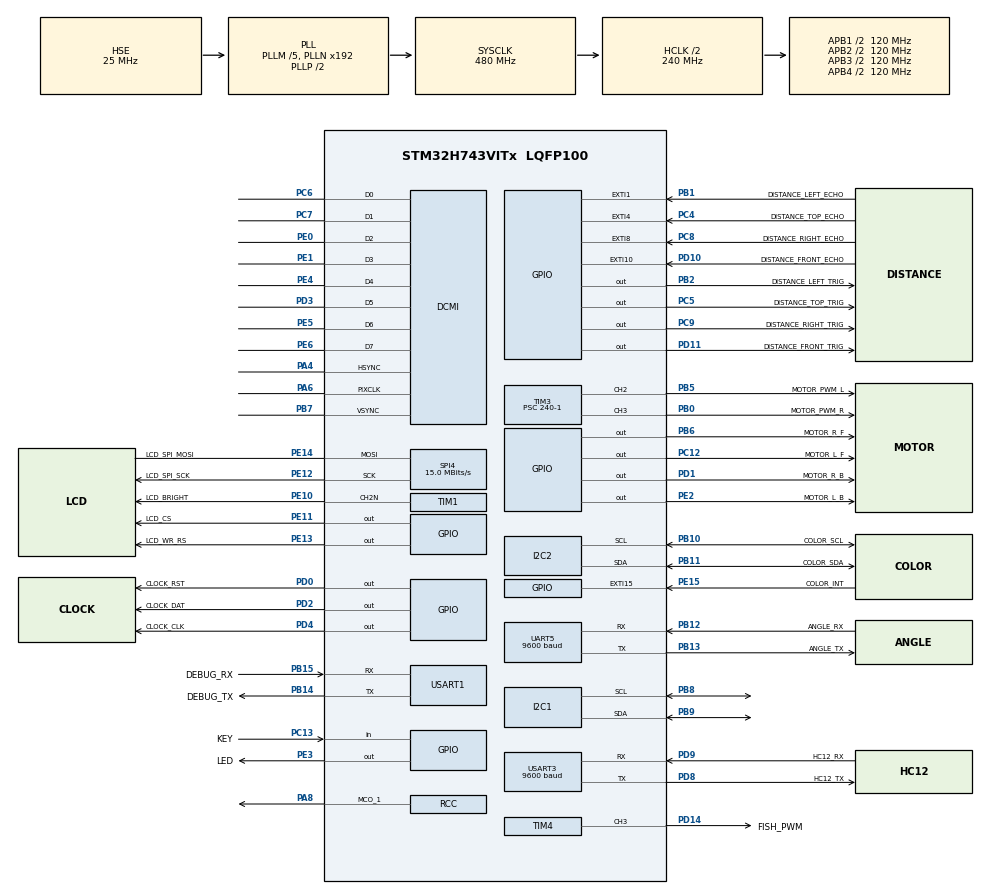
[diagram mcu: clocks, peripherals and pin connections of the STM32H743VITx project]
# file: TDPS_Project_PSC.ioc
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CORTEX_M7.CPU_DCache=Enabled
CORTEX_M7.CPU_ICache=Enabled
DCMI.JPEGMode=DCMI_JPEG_DISABLE
DCMI.PCKPolarity=DCMI_PCKPOLARITY_RISING
Dma.DCMI.0.Direction=DMA_PERIPH_TO_MEMORY
Dma.DCMI.0.EventEnable=DISABLE
Dma.DCMI.0.FIFOMode=DMA_FIFOMODE_DISABLE
Dma.DCMI.0.Instance=DMA1_Stream0
Dma.DCMI.0.MemDataAlignment=DMA_MDATAALIGN_WORD
Dma.DCMI.0.MemInc=DMA_MINC_ENABLE
Dma.DCMI.0.Mode=DMA_CIRCULAR
Dma.DCMI.0.PeriphDataAlignment=DMA_PDATAALIGN_WORD
Dma.DCMI.0.PeriphInc=DMA_PINC_DISABLE
Dma.DCMI.0.Polarity=HAL_DMAMUX_REQ_GEN_RISING
Dma.DCMI.0.Priority=DMA_PRIORITY_LOW
Dma.DCMI.0.RequestNumber=1
Dma.DCMI.0.SignalID=NONE
Dma.DCMI.0.SyncEnable=DISABLE
Dma.DCMI.0.SyncPolarity=HAL_DMAMUX_SYNC_NO_EVENT
Dma.DCMI.0.SyncRequestNumber=1
Dma.DCMI.0.SyncSignalID=NONE
Dma.Request0=DCMI
I2C1.Timing=0x307075B1
I2C2.Timing=0x307075B1
Mcu.Family=STM32H7
Mcu.Name=STM32H743VITx
Mcu.Package=LQFP100
NVIC.DCMI_IRQn=true\:0\:0\:false\:false\:true\:true\:true
NVIC.DMA1_Stream0_IRQn=true\:0\:0\:false\:false\:true\:false\:true
NVIC.EXTI15_10_IRQn=true\:0\:0\:false\:false\:true\:true\:true
NVIC.EXTI1_IRQn=true\:0\:0\:false\:false\:true\:true\:true
NVIC.EXTI4_IRQn=true\:0\:0\:false\:false\:true\:true\:true
NVIC.EXTI9_5_IRQn=true\:0\:0\:false\:false\:true\:true\:true
NVIC.LPTIM1_IRQn=true\:0\:0\:false\:false\:true\:true\:true
NVIC.LPTIM2_IRQn=true\:0\:0\:false\:false\:true\:true\:true
NVIC.LPTIM3_IRQn=true\:0\:0\:false\:false\:true\:true\:true
NVIC.LPTIM4_IRQn=true\:0\:0\:false\:false\:true\:true\:true
NVIC.LPTIM5_IRQn=true\:0\:0\:false\:false\:true\:true\:true
NVIC.PriorityGroup=NVIC_PRIORITYGROUP_4
NVIC.TIM8_UP_TIM13_IRQn=true\:0\:0\:false\:false\:true\:true\:true
NVIC.UART5_IRQn=true\:0\:0\:false\:false\:true\:true\:true
PA4.Mode=Slave_8_bits_External_Synchro
PA4.Signal=DCMI_HSYNC
PA6.Mode=Slave_8_bits_External_Synchro
PA6.Signal=DCMI_PIXCLK
PA8.Mode=Clock-out-1
PA8.Signal=RCC_MCO_1
PB0.GPIO_Label=MOTOR_PWM_R
PB0.Signal=S_TIM3_CH3
PB1.GPIO_Label=DISTANCE_LEFT_ECHO
PB1.GPIO_ModeDefaultEXTI=GPIO_MODE_IT_RISING_FALLING
PB1.GPIO_PuPd=GPIO_PULLDOWN
PB1.Signal=GPXTI1
PB10.GPIO_Label=COLOR_SCL
PB10.Mode=I2C
PB10.Signal=I2C2_SCL
PB11.GPIO_Label=COLOR_SDA
PB11.Mode=I2C
PB11.Signal=I2C2_SDA
PB12.GPIO_Label=ANGLE_RX
PB12.Mode=Asynchronous
PB12.Signal=UART5_RX
PB13.GPIO_Label=ANGLE_TX
PB13.Mode=Asynchronous
PB13.Signal=UART5_TX
PB14.GPIO_Label=DEBUG_TX
PB14.Mode=Asynchronous
PB14.Signal=USART1_TX
PB15.GPIO_Label=DEBUG_RX
PB15.Mode=Asynchronous
PB15.Signal=USART1_RX
PB2.GPIO_Label=DISTANCE_LEFT_TRIG
PB2.Signal=GPIO_Output
PB5.GPIO_Label=MOTOR_PWM_L
PB5.Signal=S_TIM3_CH2
PB6.GPIO_Label=MOTOR_R_F
PB6.Signal=GPIO_Output
PB7.Mode=Slave_8_bits_External_Synchro
PB7.Signal=DCMI_VSYNC
PB8.Mode=I2C
PB8.Signal=I2C1_SCL
PB9.Mode=I2C
PB9.Signal=I2C1_SDA
PC12.GPIO_Label=MOTOR_L_F
PC12.Signal=GPIO_Output
PC13.GPIO_Label=KEY
PC13.GPIO_PuPd=GPIO_PULLDOWN
PC13.Signal=GPIO_Input
PC14-OSC32_IN\ (OSC32_IN).Mode=LSE-External-Oscillator
PC14-OSC32_IN\ (OSC32_IN).Signal=RCC_OSC32_IN
PC15-OSC32_OUT\ (OSC32_OUT).Mode=LSE-External-Oscillator
PC15-OSC32_OUT\ (OSC32_OUT).Signal=RCC_OSC32_OUT
PC4.GPIO_Label=DISTANCE_TOP_ECHO
PC4.GPIO_ModeDefaultEXTI=GPIO_MODE_IT_RISING_FALLING
PC4.GPIO_PuPd=GPIO_PULLDOWN
PC4.Signal=GPXTI4
PC5.GPIO_Label=DISTANCE_TOP_TRIG
PC5.Signal=GPIO_Output
PC6.Mode=Slave_8_bits_External_Synchro
PC6.Signal=DCMI_D0
PC7.Mode=Slave_8_bits_External_Synchro
PC7.Signal=DCMI_D1
PC8.GPIO_Label=DISTANCE_RIGHT_ECHO
PC8.GPIO_ModeDefaultEXTI=GPIO_MODE_IT_RISING_FALLING
PC8.GPIO_PuPd=GPIO_PULLDOWN
PC8.Signal=GPXTI8
PC9.GPIO_Label=DISTANCE_RIGHT_TRIG
PC9.Signal=GPIO_Output
PD0.GPIO_Label=CLOCK_RST
PD0.Signal=GPIO_Output
PD1.GPIO_Label=MOTOR_R_B
PD1.Signal=GPIO_Output
PD10.GPIO_Label=DISTANCE_FRONT_ECHO
PD10.GPIO_ModeDefaultEXTI=GPIO_MODE_IT_RISING_FALLING
PD10.GPIO_PuPd=GPIO_PULLDOWN
PD10.Signal=GPXTI10
PD11.GPIO_Label=DISTANCE_FRONT_TRIG
PD11.Signal=GPIO_Output
PD14.GPIO_Label=FISH_PWM
PD14.Signal=S_TIM4_CH3
PD2.GPIO_Label=CLOCK_DAT
PD2.Signal=GPIO_Output
PD3.Mode=Slave_8_bits_External_Synchro
PD3.Signal=DCMI_D5
PD4.GPIO_Label=CLOCK_CLK
PD4.Signal=GPIO_Output
PD8.GPIO_Label=HC12_TX
PD8.Mode=Asynchronous
PD8.Signal=USART3_TX
PD9.GPIO_Label=HC12_RX
PD9.Mode=Asynchronous
PD9.Signal=USART3_RX
PE0.Mode=Slave_8_bits_External_Synchro
PE0.Signal=DCMI_D2
PE1.Mode=Slave_8_bits_External_Synchro
PE1.Signal=DCMI_D3
PE10.GPIO_Label=LCD_BRIGHT
PE10.Mode=PWM Generation2 CH2N
PE10.Signal=TIM1_CH2N
PE11.GPIO_Label=LCD_CS
PE11.GPIO_Speed=GPIO_SPEED_FREQ_VERY_HIGH
PE11.Signal=GPIO_Output
PE12.GPIO_Label=LCD_SPI_SCK
PE12.Mode=Simplex_Bidirectional_Master
PE12.Signal=SPI4_SCK
PE13.GPIO_Label=LCD_WR_RS
PE13.GPIO_Speed=GPIO_SPEED_FREQ_VERY_HIGH
PE13.Signal=GPIO_Output
PE14.GPIO_Label=LCD_SPI_MOSI
PE14.Mode=Simplex_Bidirectional_Master
PE14.Signal=SPI4_MOSI
PE15.GPIO_Label=COLOR_INT
PE15.GPIO_PuPd=GPIO_PULLDOWN
PE15.Signal=GPXTI15
PE2.GPIO_Label=MOTOR_L_B
PE2.Signal=GPIO_Output
PE3.GPIO_Label=LED
PE3.Signal=GPIO_Output
PE4.Mode=Slave_8_bits_External_Synchro
PE4.Signal=DCMI_D4
PE5.Mode=Slave_8_bits_External_Synchro
PE5.Signal=DCMI_D6
PE6.Mode=Slave_8_bits_External_Synchro
PE6.Signal=DCMI_D7
PH0-OSC_IN\ (PH0).Mode=HSE-External-Oscillator
PH0-OSC_IN\ (PH0).Signal=RCC_OSC_IN
PH1-OSC_OUT\ (PH1).Mode=HSE-External-Oscillator
PH1-OSC_OUT\ (PH1).Signal=RCC_OSC_OUT
ProjectManager.HeapSize=0x4000
ProjectManager.StackSize=0x6000
ProjectManager.TargetToolchain=SW4STM32
RCC.ADCFreq_Value=2000000
RCC.APB1Freq_Value=120000000
RCC.APB2Freq_Value=120000000
RCC.APB3Freq_Value=120000000
RCC.APB4Freq_Value=120000000
RCC.CortexFreq_Value=480000000
RCC.D1PPRE=RCC_APB3_DIV2
RCC.D2PPRE1=RCC_APB1_DIV2
RCC.D2PPRE2=RCC_APB2_DIV2
RCC.D3PPRE=RCC_APB4_DIV2
RCC.DIVM1=5
RCC.DIVM2=5
RCC.DIVN1=192
RCC.DIVN2=30
RCC.DIVP2=75
RCC.DIVQ2=128
RCC.HCLKFreq_Value=240000000
RCC.HPRE=RCC_HCLK_DIV2
RCC.LPTIM1CLockSelection=RCC_LPTIM1CLKSOURCE_LSI
RCC.LPTIM2CLockSelection=RCC_LPTIM2CLKSOURCE_PLL2
RCC.LPTIM345CLockSelection=RCC_LPTIM345CLKSOURCE_PLL2
RCC.PLL2FRACN=0
RCC.PLL3FRACN=0
RCC.PLLFRACN=0
RCC.PLLSourceVirtual=RCC_PLLSOURCE_HSE
RCC.PWR_Regulator_Voltage_Scale=PWR_REGULATOR_VOLTAGE_SCALE0
RCC.RCC_MCO1Source=RCC_MCO1SOURCE_HSI48
RCC.RCC_MCODiv1=RCC_MCODIV_4
RCC.SYSCLKFreq_VALUE=480000000
RCC.SYSCLKSource=RCC_SYSCLKSOURCE_PLLCLK
RCC.USBFreq_Value=480000000
SH.S_TIM3_CH2.0=TIM3_CH2,PWM Generation2 CH2
SH.S_TIM3_CH3.0=TIM3_CH3,PWM Generation3 CH3
SH.S_TIM4_CH3.0=TIM4_CH3,PWM Generation3 CH3
SPI4.BaudRatePrescaler=SPI_BAUDRATEPRESCALER_8
SPI4.CalculateBaudRate=15.0 MBits/s
SPI4.DataSize=SPI_DATASIZE_8BIT
SPI4.Direction=SPI_DIRECTION_1LINE
SPI4.Mode=SPI_MODE_MASTER
SPI4.VirtualType=VM_MASTER
STMicroelectronics.X-CUBE-AI.6.0.0.ActivationBufferSizeList=76556
STMicroelectronics.X-CUBE-AI.6.0.0.ApplicationCcDeviceJjApplication=ApplicationTemplate
STMicroelectronics.X-CUBE-AI.6.0.0.HeapSize=0x4000
STMicroelectronics.X-CUBE-AI.6.0.0.InternalRamActivationBufferMaxSize=AI_TDPS_NETWORK_DATA_ACTIVATIONS_SIZE
STMicroelectronics.X-CUBE-AI.6.0.0.LatestDirectoryUsed-0ce65e248a497069feafd30f2161a465af93d07f5497eef791eddf14a504161a=/Users/psc/Template
STMicroelectronics.X-CUBE-AI.6.0.0.MaximumNumberOfInputLayer=1
STMicroelectronics.X-CUBE-AI.6.0.0.MaximumNumberOfOutputLayer=1
STMicroelectronics.X-CUBE-AI.6.0.0.MaximumSizeOfInputLayer=AI_TDPS_NETWORK_IN_1_SIZE_BYTES
STMicroelectronics.X-CUBE-AI.6.0.0.MaximumSizeOfOutputLayer=AI_TDPS_NETWORK_OUT_1_SIZE_BYTES
STMicroelectronics.X-CUBE-AI.6.0.0.ModelActualCompression-0ce65e248a497069feafd30f2161a465af93d07f5497eef791eddf14a504161a=0.0
STMicroelectronics.X-CUBE-AI.6.0.0.ModelCompression-0ce65e248a497069feafd30f2161a465af93d07f5497eef791eddf14a504161a=1
STMicroelectronics.X-CUBE-AI.6.0.0.ModelFlashOccupation-0ce65e248a497069feafd30f2161a465af93d07f5497eef791eddf14a504161a=1237164
STMicroelectronics.X-CUBE-AI.6.0.0.ModelHashList=0ce65e248a497069feafd30f2161a465af93d07f5497eef791eddf14a504161a
STMicroelectronics.X-CUBE-AI.6.0.0.ModelKind-0ce65e248a497069feafd30f2161a465af93d07f5497eef791eddf14a504161a=ONNX
STMicroelectronics.X-CUBE-AI.6.0.0.ModelMacc-0ce65e248a497069feafd30f2161a465af93d07f5497eef791eddf14a504161a=1195216
STMicroelectronics.X-CUBE-AI.6.0.0.ModelName-0ce65e248a497069feafd30f2161a465af93d07f5497eef791eddf14a504161a=tdps_network
STMicroelectronics.X-CUBE-AI.6.0.0.ModelNameList=tdps_network
STMicroelectronics.X-CUBE-AI.6.0.0.ModelRamOccupation-0ce65e248a497069feafd30f2161a465af93d07f5497eef791eddf14a504161a=76556
STMicroelectronics.X-CUBE-AI.6.0.0.ModelStructureFile-0ce65e248a497069feafd30f2161a465af93d07f5497eef791eddf14a504161a=/Users/psc/Template/final_sim.onnx
STMicroelectronics.X-CUBE-AI.6.0.0.ModelType-0ce65e248a497069feafd30f2161a465af93d07f5497eef791eddf14a504161a=Saved model
STMicroelectronics.X-CUBE-AI.6.0.0.StackSize=0x6000
STMicroelectronics.X-CUBE-AI.6.0.0.WorkingBufferStartAddrList=0xFFFFFFFF
STMicroelectronics.X-CUBE-AI.6.0.0.XAaCUBEAaAICcArtificialOoIntelligenceJjCore=true
TIM1.Channel-PWM\ Generation2\ CH2N=TIM_CHANNEL_2
TIM1.OCNPolarity_2=TIM_OCNPOLARITY_LOW
TIM1.Period=12-1
TIM1.RepetitionCounter=1000-1
TIM13.Period=1000
TIM13.Prescaler=48000
TIM16.Period=100-1
TIM16.Prescaler=480-1
TIM3.Channel-PWM\ Generation2\ CH2=TIM_CHANNEL_2
TIM3.Channel-PWM\ Generation3\ CH3=TIM_CHANNEL_3
TIM3.Period=1000-1
TIM3.Prescaler=240-1
TIM4.Channel-PWM\ Generation3\ CH3=TIM_CHANNEL_3
TIM4.Period=2500
TIM4.Prescaler=240-1
UART5.BaudRate=9600
USART1.VirtualMode-Asynchronous=VM_ASYNC
USART3.BaudRate=9600
USART3.VirtualMode-Asynchronous=VM_ASYNC
VP_CRC_VS_CRC.Mode=CRC_Activate
VP_LPTIM1_VS_LPTIM_counterModeInternalClock.Mode=Counts__internal_clock_event_00
VP_LPTIM2_VS_LPTIM_counterModeInternalClock.Mode=Counts__internal_clock_event_00
VP_LPTIM3_VS_LPTIM_counterModeInternalClock.Mode=Counts__internal_clock_event_00
VP_LPTIM4_VS_LPTIM_counterModeInternalClock.Mode=Counts__internal_clock_event_00
VP_LPTIM5_VS_LPTIM_counterModeInternalClock.Mode=Counts__internal_clock_event_00
VP_STMicroelectronics.X-CUBE-AI_VS_ArtificialOoIntelligenceJjXAaCUBEAaAI_6.0.0.Mode=ArtificialOoIntelligenceJjXAaCUBEAaAI
VP_STMicroelectronics.X-CUBE-AI_VS_DeviceJjApplication_6.0.0.Mode=DeviceJjApplication
VP_TIM13_VS_ClockSourceINT.Mode=Enable_Timer
VP_TIM16_VS_ClockSourceINT.Mode=Enable_Timer
board=custom

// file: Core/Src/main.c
/* USER CODE BEGIN Header */
/**
  ******************************************************************************
  * @file           : main.c
  * @brief          : Main program body
  ******************************************************************************
  * @attention89
  *
  * <h2><center>&copy; Copyright (c) 2021 STMicroelectronics.
  * All rights reserved.</center></h2>
  *
  * This software component is licensed by ST under Ultimate Liberty license
  * SLA0044, the "License"; You may not use this file except in compliance with
  * the License. You may obtain a copy of the License at:
  *                             www.st.com/SLA0044
  *
  ******************************************************************************
  */
/* USER CODE END Header */
#include "main.h"
#include "crc.h"
#include "dcmi.h"
#include "dma.h"
#include "i2c.h"
#include "lptim.h"
#include "spi.h"
#include "tim.h"
#include "usart.h"
#include "gpio.h"
#include "app_x-cube-ai.h"

/* USER CODE BEGIN Includes */
#include <stdio.h>
#include "delay.h"
#include "Color.h"
#include "DS1302.h"
#include "HCSR04.h"
#include "JY901S.h"
#include "motor.h"
#include "control.h"
#include "patio1.h"
#include "patio2.h"
/* USER CODE END Includes */

/* USER CODE BEGIN PD */
#define ANGLE_P_DATA 0.006
#define ANGLE_I_DATA 0.0000
#define ANGLE_D_DATA 0.000

//#define ANGLE_P_DATA 0.006
//#define ANGLE_I_DATA 0.00000
//#define ANGLE_D_DATA 0.000

#define DISTANCE_P_DATA 0.005
#define DISTANCE_I_DATA 0.000
#define DISTANCE_D_DATA 0.000
/* USER CODE END PD */

/* USER CODE BEGIN PV */
Motor_Pair_Connector motor_pair_connector = {
        MOTOR_L_F_GPIO_Port, MOTOR_L_F_Pin,
        MOTOR_L_B_GPIO_Port, MOTOR_L_B_Pin,
        MOTOR_R_F_GPIO_Port, MOTOR_R_F_Pin,
        MOTOR_R_B_GPIO_Port, MOTOR_R_B_Pin,
};

Motor_Pair motor_pair;

HCSR04_Connector hcsr04_connector_front = {
        DISTANCE_FRONT_TRIG_GPIO_Port, DISTANCE_FRONT_TRIG_Pin,
        DISTANCE_FRONT_ECHO_GPIO_Port, DISTANCE_FRONT_ECHO_Pin
};

HCSR04 hcsr04_front;

HCSR04_Connector hcsr04_connector_left = {
        DISTANCE_LEFT_TRIG_GPIO_Port, DISTANCE_LEFT_TRIG_Pin,
        DISTANCE_LEFT_ECHO_GPIO_Port, DISTANCE_LEFT_ECHO_Pin
};

HCSR04 hcsr04_left;

AngleFilterQueue angle_filter_queue = {{0}, 0, 0};

JY901S jy901s;

PID_Controller angle_pid_controller;
PID_Controller distance_pid_controller;

TCS34725 color_sensor;
COLOR_RGBC_RAW raw_buffer;
COLOR_CMYK cmyk_buffer;
COLOR_HSL hsl_buffer;

int d_time = 0;
/* USER CODE END PV */

void SystemClock_Config(void);
void PeriphCommonClock_Config(void);

int main(void)
{

  /* Enable I-Cache---------------------------------------------------------*/
  SCB_EnableICache();

  /* Enable D-Cache---------------------------------------------------------*/
  SCB_EnableDCache();

  /* MCU Configuration--------------------------------------------------------*/

  /* Reset of all peripherals, Initializes the Flash interface and the Systick. */
  HAL_Init();

  /* Configure the system clock */
  SystemClock_Config();

/* Configure the peripherals common clocks */
  PeriphCommonClock_Config();

  /* Initialize all configured peripherals */
  MX_GPIO_Init();
  MX_DMA_Init();
  MX_CRC_Init();
  MX_DCMI_Init();
  MX_I2C2_Init();
  MX_LPTIM1_Init();
  MX_LPTIM2_Init();
  MX_LPTIM3_Init();
  MX_LPTIM4_Init();
  MX_SPI4_Init();
  MX_TIM1_Init();
  MX_UART5_Init();
  MX_USART3_UART_Init();
  MX_I2C1_Init();
  MX_TIM16_Init();
  MX_USART1_UART_Init();
  MX_TIM3_Init();
  MX_LPTIM5_Init();
  MX_TIM13_Init();
  MX_TIM4_Init();
  MX_X_CUBE_AI_Init();
  /* USER CODE BEGIN 2 */
    Motor_Init(&motor_pair, motor_pair_connector, &htim3, &htim3, TIM_CHANNEL_2, TIM_CHANNEL_3);

    HCSR04_Init(&hcsr04_front, hcsr04_connector_front, &hlptim2, 2);
    HCSR04_Init(&hcsr04_left, hcsr04_connector_left, &hlptim3, 2);
    HCSR04_Background_INT_Trigger(&hlptim1);

    JY901S_Init(&jy901s, &huart5, &angle_filter_queue);

//    HAL_Delay(3000);
    PID_Init(&angle_pid_controller, 0, ANGLE_P_DATA, ANGLE_I_DATA, ANGLE_D_DATA);
    PID_Init(&distance_pid_controller, 50, DISTANCE_P_DATA, DISTANCE_I_DATA, DISTANCE_D_DATA);

    TCS34725_Init(&color_sensor, &hi2c2);
    DS1302_Time ds1302_time = {0};
    DS1302 ds1302 = {
            CLOCK_CLK_GPIO_Port, CLOCK_CLK_Pin,
            CLOCK_DAT_GPIO_Port, CLOCK_DAT_Pin,
            CLOCK_RST_GPIO_Port, CLOCK_RST_Pin
    };
    char time_str[] = "2000/02/10 14:20:00";

    /* USER CODE END 2 */

  /* Infinite loop */
  /* USER CODE BEGIN WHILE */
    HAL_Delay(1000);
int color = 0;
//    Motor_Straight(&motor_pair, 0.3);

//Patio1();
//return 0;

    HAL_TIM_PWM_Start(&htim4, TIM_CHANNEL_3);

    __HAL_TIM_SET_COMPARE(&htim4, TIM_CHANNEL_3, 600-1);

//    while(1)
//    {
//            TCS34725_GetRawData(&color_sensor, &raw_buffer);
//            TCS34725_RAW_To_CMYK(&raw_buffer, &cmyk_buffer);
//            TCS34725_RAW_To_HSL(&raw_buffer, &hsl_buffer);
//
//            printf(cmyk_buffer.c < cmyk_buffer.m ? (cmyk_buffer.m < cmyk_buffer.y ? "yellow\r\n" : "red\r\n") : (cmyk_buffer.c < cmyk_buffer.y ? "yellow\r\n" : "blue\r\n"));
//            printf("%d\r\n", hsl_buffer.s);
//    }

    while(!(color = isOnColor()))
    {
        Motor_Straight(&motor_pair, 0.3);
    }
    Motor_Stop(&motor_pair);
    HAL_Delay(1000);

    if(color == 1)
    {
        TurnTo(&jy901s, &motor_pair, 45, 0.4, 100, 2);
        HAL_TIM_Base_Start_IT(&htim13);
        while(d_time < 35)
        {
            Keep_Angle_Forward(&motor_pair, &jy901s, &angle_pid_controller, 0.5, 45);
        }
        Motor_Stop(&motor_pair);
        TurnTo(&jy901s, &motor_pair, 0, 0.3, 100, 0);
        d_time = 0;
        d_time = 0;
        while(d_time < 35)
        {
            Keep_Angle_Forward(&motor_pair, &jy901s, &angle_pid_controller, 0.5, 0);
        }
        TurnTo(&jy901s, &motor_pair, -90, 0.3, 100, 0);
        d_time = 0;
        d_time = 0;
        while(d_time < 25)
        {
            Keep_Angle_Forward(&motor_pair, &jy901s, &angle_pid_controller, 0.5, -90);
        }
        TurnTo(&jy901s, &motor_pair, 0, 0.3, 100, 0);
        while(hcsr04_front.distance > 60)
        {
            Keep_Angle_Forward(&motor_pair, &jy901s, &angle_pid_controller, 0.5, 0);

        }
    }
    else if(color == 3)
    {
        TurnTo(&jy901s, &motor_pair, 0, 0.4, 100, 0);
        HAL_TIM_Base_Start_IT(&htim13);
        while(hcsr04_front.distance > 60)
        {
            Keep_Angle_Forward(&motor_pair, &jy901s, &angle_pid_controller, 0.5, 0);

        }
    }
    else
    {
        TurnTo(&jy901s, &motor_pair, -45, 0.4, 100, 2);
        HAL_TIM_Base_Start_IT(&htim13);
        while(d_time < 35)
        {
            Keep_Angle_Forward(&motor_pair, &jy901s, &angle_pid_controller, 0.5, -45);
        }
        Motor_Stop(&motor_pair);
        TurnTo(&jy901s, &motor_pair, 0, 0.3, 100, 0);
        while(hcsr04_front.distance > 60) {
            Keep_Angle_Forward(&motor_pair, &jy901s, &angle_pid_controller, 0.5, 0);

        }
    }

    TurnTo(&jy901s, &motor_pair, -90, 0.35, 100, 0);
    while(hcsr04_left.distance < 300)
    {
        Keep_Angle_Forward(&motor_pair, &jy901s, &angle_pid_controller, 0.9, -90);
    }
    HAL_Delay(2000);
    TurnTo(&jy901s, &motor_pair, 0, 0.3, 100, 0);
    d_time = 0;
    d_time = 0;
    while(d_time < 34)
    {
        Keep_Angle_Forward(&motor_pair, &jy901s, &angle_pid_controller, 0.5, 0);
    }
    TurnTo(&jy901s, &motor_pair, -90, 0.3, 100, 1);
    while(hcsr04_front.distance > 40)
    {
        Keep_Angle_Forward(&motor_pair, &jy901s, &angle_pid_controller, 0.5, -90);
    }
    Motor_Stop(&motor_pair);
    HAL_Delay(1000);
    TurnTo(&jy901s, &motor_pair, 90, 0.4, 100, 1);
    __HAL_TIM_SET_COMPARE(&htim4, TIM_CHANNEL_3, 1000-1);
    HAL_Delay(1000);
    while(hcsr04_front.distance > 50)
    {
        Keep_Angle_Forward(&motor_pair, &jy901s, &angle_pid_controller, 0.4, 82);
    }
    Motor_Stop(&motor_pair);
    DS1302_timeRead(&ds1302, &ds1302_time);

    sprintf(time_str, "%4d/%02d/%02d %02d:%02d:%02d", ds1302_time.year, ds1302_time.month, ds1302_time.date, ds1302_time.hour, ds1302_time.minute, ds1302_time.second);
    printf("\n");
    printf(time_str);
    printf("\n");
    printf("Hello World!\nPowerful Science Council\n\nShichen Peng 2429660P\nJinyu Yin 2429418Y\nYuxuan Wang 2429632W\nChenyue Wang 2429285W\nYuhui Zhang2429310Z\nYuhan Wu 2429633W\nYuxuan Liu 2429662L\nYueling Zhao 2429312Z\nYuxin Yang 2429637Y\nXincheng Zhu 2429649Z\n");

    return 0;

    while (1)
  {

//        while(1)
//        {
//            TCS34725_GetRawData(&color_sensor, &raw_buffer);
//            TCS34725_RAW_To_CMYK(&raw_buffer, &cmyk_buffer);
//            TCS34725_RAW_To_HSL(&raw_buffer, &hsl_buffer);

//            printf(cmyk_buffer.c < cmyk_buffer.m ? (cmyk_buffer.m < cmyk_buffer.y ? "yellow\r\n" : "red\r\n") : (cmyk_buffer.c < cmyk_buffer.y ? "yellow\r\n" : "blue\r\n"));
//            printf("%d\r\n", hsl_buffer.s);
//        }

//      HAL_TIM_Base_Start_IT(&htim13);
//      while(d_time < 37)
//      {
//          Motor_Straight(&motor_pair, 0.5);
//      }
//      Motor_Stop(&motor_pair);
//      return 0;

//      TCS34725_GetRawData(&color_sensor, &raw_buffer);
//      TCS34725_RAW_To_CMYK(&raw_buffer, &cmyk_buffer);
//      TCS34725_RAW_To_HSL(&raw_buffer, &hsl_buffer);
//      printf(cmyk_buffer.c < cmyk_buffer.m ? (cmyk_buffer.m < cmyk_buffer.y ? "yellow\r\n" : "red\r\n") : (cmyk_buffer.c < cmyk_buffer.y ? "yellow\r\n" : "blue\r\n"));
//      printf("%d\r\n", hsl_buffer.s);

    /* USER CODE END WHILE */

//  MX_X_CUBE_AI_Process();
  }
}

void SystemClock_Config(void)
{
  RCC_OscInitTypeDef RCC_OscInitStruct = {0};
  RCC_ClkInitTypeDef RCC_ClkInitStruct = {0};

  /** Supply configuration update enable
  */
  HAL_PWREx_ConfigSupply(PWR_LDO_SUPPLY);
  /** Configure the main internal regulator output voltage
  */
  __HAL_PWR_VOLTAGESCALING_CONFIG(PWR_REGULATOR_VOLTAGE_SCALE0);

  while(!__HAL_PWR_GET_FLAG(PWR_FLAG_VOSRDY)) {}
  /** Macro to configure the PLL clock source
  */
  __HAL_RCC_PLL_PLLSOURCE_CONFIG(RCC_PLLSOURCE_HSE);
  /** Initializes the RCC Oscillators according to the specified parameters
  * in the RCC_OscInitTypeDef structure.
  */
  RCC_OscInitStruct.OscillatorType = RCC_OSCILLATORTYPE_HSI48|RCC_OSCILLATORTYPE_LSI
                              |RCC_OSCILLATORTYPE_HSE;
  RCC_OscInitStruct.HSEState = RCC_HSE_ON;
  RCC_OscInitStruct.LSIState = RCC_LSI_ON;
  RCC_OscInitStruct.HSI48State = RCC_HSI48_ON;
  RCC_OscInitStruct.PLL.PLLState = RCC_PLL_ON;
  RCC_OscInitStruct.PLL.PLLSource = RCC_PLLSOURCE_HSE;
  RCC_OscInitStruct.PLL.PLLM = 5;
  RCC_OscInitStruct.PLL.PLLN = 192;
  RCC_OscInitStruct.PLL.PLLP = 2;
  RCC_OscInitStruct.PLL.PLLQ = 2;
  RCC_OscInitStruct.PLL.PLLR = 2;
  RCC_OscInitStruct.PLL.PLLRGE = RCC_PLL1VCIRANGE_2;
  RCC_OscInitStruct.PLL.PLLVCOSEL = RCC_PLL1VCOWIDE;
  RCC_OscInitStruct.PLL.PLLFRACN = 0;
  if (HAL_RCC_OscConfig(&RCC_OscInitStruct) != HAL_OK)
  {
    Error_Handler();
  }
  /** Initializes the CPU, AHB and APB buses clocks
  */
  RCC_ClkInitStruct.ClockType = RCC_CLOCKTYPE_HCLK|RCC_CLOCKTYPE_SYSCLK
                              |RCC_CLOCKTYPE_PCLK1|RCC_CLOCKTYPE_PCLK2
                              |RCC_CLOCKTYPE_D3PCLK1|RCC_CLOCKTYPE_D1PCLK1;
  RCC_ClkInitStruct.SYSCLKSource = RCC_SYSCLKSOURCE_PLLCLK;
  RCC_ClkInitStruct.SYSCLKDivider = RCC_SYSCLK_DIV1;
  RCC_ClkInitStruct.AHBCLKDivider = RCC_HCLK_DIV2;
  RCC_ClkInitStruct.APB3CLKDivider = RCC_APB3_DIV2;
  RCC_ClkInitStruct.APB1CLKDivider = RCC_APB1_DIV2;
  RCC_ClkInitStruct.APB2CLKDivider = RCC_APB2_DIV2;
  RCC_ClkInitStruct.APB4CLKDivider = RCC_APB4_DIV2;

  if (HAL_RCC_ClockConfig(&RCC_ClkInitStruct, FLASH_LATENCY_4) != HAL_OK)
  {
    Error_Handler();
  }
  HAL_RCC_MCOConfig(RCC_MCO1, RCC_MCO1SOURCE_HSI48, RCC_MCODIV_4);
}

void PeriphCommonClock_Config(void)
{
  RCC_PeriphCLKInitTypeDef PeriphClkInitStruct = {0};

  /** Initializes the peripherals clock
  */
  PeriphClkInitStruct.PeriphClockSelection = RCC_PERIPHCLK_LPTIM2|RCC_PERIPHCLK_LPTIM3
                              |RCC_PERIPHCLK_LPTIM4|RCC_PERIPHCLK_LPTIM5;
  PeriphClkInitStruct.PLL2.PLL2M = 5;
  PeriphClkInitStruct.PLL2.PLL2N = 30;
  PeriphClkInitStruct.PLL2.PLL2P = 75;
  PeriphClkInitStruct.PLL2.PLL2Q = 128;
  PeriphClkInitStruct.PLL2.PLL2R = 2;
  PeriphClkInitStruct.PLL2.PLL2RGE = RCC_PLL2VCIRANGE_2;
  PeriphClkInitStruct.PLL2.PLL2VCOSEL = RCC_PLL2VCOMEDIUM;
  PeriphClkInitStruct.PLL2.PLL2FRACN = 0;
  PeriphClkInitStruct.Lptim2ClockSelection = RCC_LPTIM2CLKSOURCE_PLL2;
  PeriphClkInitStruct.Lptim345ClockSelection = RCC_LPTIM345CLKSOURCE_PLL2;
  if (HAL_RCCEx_PeriphCLKConfig(&PeriphClkInitStruct) != HAL_OK)
  {
    Error_Handler();
  }
}

void Error_Handler(void)
{
  __disable_irq();
  while (1)
  {
  }
}

/************************ (C) COPYRIGHT STMicroelectronics *****END OF FILE****/
